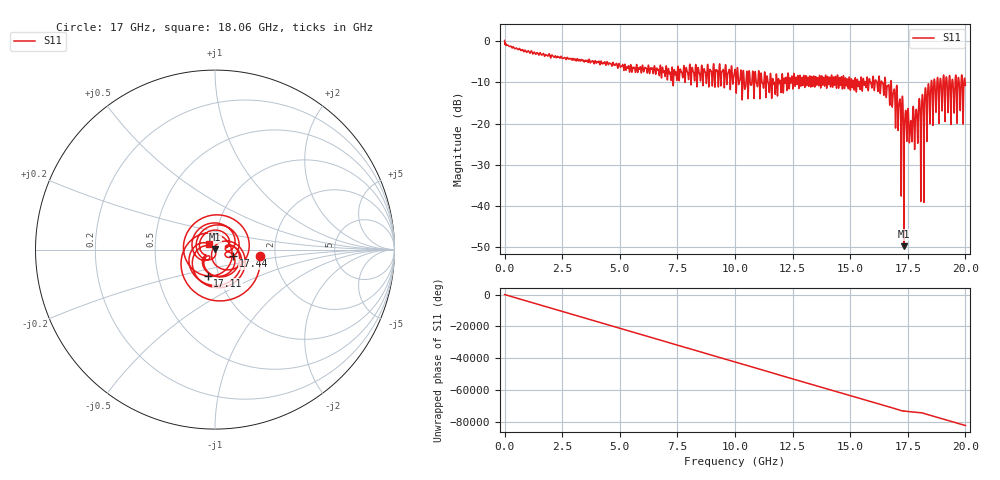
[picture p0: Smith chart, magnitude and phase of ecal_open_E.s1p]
! MS46122B
! 2250307/22442219
! 6/16/2025 12:46:17 PM
! C:\USERS\SPARKY\DOCUMENTS\VNA_DATA\JUNE16_2025\295\ECAL_OPEN_E.S1P
! CHANNEL.1
! TR.MEASUREMENT
! RAW.DATA
# GHZ S RI R 50.0
! FREQ.GHZ  S11RE  S11IM
!; PortSelection: Port_1
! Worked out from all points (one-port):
!   10001 points, 1 MHz to 20 GHz, reference 50 ohm
!   lowest |S11| = -49.9 dB at 17.33 GHz (marker M1), VSWR 1.01, Z = 49.8 + j0.23 ohm
!   |S11| at or under -10 dB: 16.53 GHz to 16.76 GHz (221.6 MHz wide, 1.33 % of centre); 16.78 GHz to 18.51 GHz (1.732 GHz wide, 9.82 % of centre); 18.67426 GHz to 18.76625 GHz (91.99 MHz wide, 0.491 % of centre) (the widest 3 of 98)
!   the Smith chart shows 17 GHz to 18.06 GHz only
!   S11 on the Smith chart (normalised r, x): 17 GHz: 1.66, -0.12; 17.11 GHz: 0.88, -0.27; 17.44 GHz: 1.22, -0.09; 18.06 GHz: 0.94, +0.06
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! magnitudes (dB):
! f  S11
! 1 MHz  0.2
! 2.501 GHz  -4.2
! 5.001 GHz  -5.9
! 7.501 GHz  -7.3
! 10 GHz  -6.8
! 12.5 GHz  -10.7
! 15 GHz  -11.6
! 16.44 GHz  -11.5
! 17 GHz  -12.0
! 17.11 GHz  -16.3
! 17.28 GHz  -13.8
! 17.33 GHz  -49.9
! 17.4 GHz  -17.0
! 17.44 GHz  -19.3
! 17.5 GHz  -16.5
! 17.86 GHz  -16.6
! 17.94 GHz  -23.7
! 17.99 GHz  -14.0
! 18.06 GHz  -27.0
! 18.13 GHz  -13.0
! 18.19 GHz  -25.9
! 18.27 GHz  -11.3
! 18.33 GHz  -23.7
! 18.4 GHz  -10.3
! 18.46 GHz  -19.9
! 18.72 GHz  -17.3
! 19.45 GHz  -9.4
! 20 GHz  -10.7
